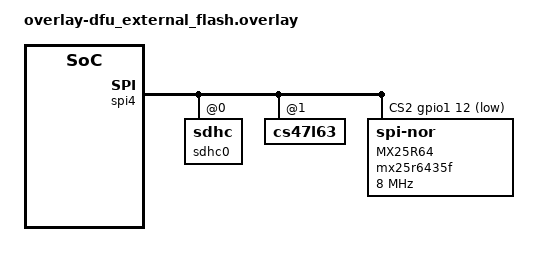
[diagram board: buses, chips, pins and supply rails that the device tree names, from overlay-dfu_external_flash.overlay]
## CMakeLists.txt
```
#
# Copyright (c) 2022 Nordic Semiconductor ASA
#
# SPDX-License-Identifier: LicenseRef-Nordic-5-Clause
#

cmake_minimum_required(VERSION 3.20.0)

if (CONFIG_AUDIO_DFU EQUAL 1)
    set(mcuboot_OVERLAY_CONFIG
    ${CMAKE_CURRENT_LIST_DIR}/dfu/conf/overlay-mcuboot.conf
    )

endif()

if (CONFIG_AUDIO_DFU EQUAL 2)
    set(mcuboot_OVERLAY_CONFIG
        ${CMAKE_CURRENT_LIST_DIR}/dfu/conf/overlay-mcuboot_external_flash.conf
    )
    set(mcuboot_DTC_OVERLAY_FILE ${CMAKE_CURRENT_LIST_DIR}/dfu/conf/overlay-dfu_external_flash.overlay)
    set(DTC_OVERLAY_FILE ${CMAKE_CURRENT_LIST_DIR}/dfu/conf/overlay-dfu_external_flash.overlay)
    set(mcuboot_PM_STATIC_YML_FILE ${CMAKE_CURRENT_LIST_DIR}/dfu/conf/pm_dfu_external_flash.yml)
    set(PM_STATIC_YML_FILE ${CMAKE_CURRENT_LIST_DIR}/dfu/conf/pm_dfu_external_flash.yml)
endif()

if ((CONFIG_AUDIO_DFU EQUAL 1) OR (CONFIG_AUDIO_DFU EQUAL 2))
    set(hci_rpmsg_b0n_OVERLAY_CONFIG ${CMAKE_CURRENT_LIST_DIR}/dfu/conf/b0n.conf)
    if (CONFIG_B0N_MINIMAL)
        list(APPEND hci_rpmsg_b0n_OVERLAY_CONFIG overlay-minimal-size.conf)
    endif()
endif()

# Flag which defines whether application is compiled as gateway/dongle or headset
add_compile_definitions(HEADSET=1)
add_compile_definitions(GATEWAY=2)

set(CONF_FILE prj.conf)
set(FIND_MY_COMMON_CMAKE_DIR
    "$ENV{ZEPHYR_BASE}/../find-my/samples/common/cmake/"
    CACHE PATH "Common configuration directory")
include(${FIND_MY_COMMON_CMAKE_DIR}/boilerplate_setup.cmake NO_POLICY_SCOPE)


find_package(Zephyr REQUIRED HINTS $ENV{ZEPHYR_BASE})

project(NRF5340_AUDIO)

string(TIMESTAMP NRF5340_AUDIO_CORE_APP_COMP_DATE "%a %b %d %H:%M:%S %Y")

# Generate fw_info_app.c
configure_file("${CMAKE_CURRENT_SOURCE_DIR}/src/utils/fw_info_app.c.in"
               "${CMAKE_BINARY_DIR}/fw_info_app.c"
               @ONLY)

# Target sources below are specific to the nRF5340 Audio DK HW
target_sources(app PRIVATE
    src/main.c
    ${CMAKE_BINARY_DIR}/fw_info_app.c
    )

# Include application events and configuration headers
zephyr_library_include_directories(
    src/audio
    src/bluetooth
    src/drivers
    src/events
    src/modules
    src/utils
    src/utils/macros
)

zephyr_library_include_directories(app PRIVATE
    ${ZEPHYR_NRF_MODULE_DIR}/boards/arm/nrf5340_audio_dk_nrf5340)

# Application sources
add_subdirectory(src/audio)
add_subdirectory(src/bluetooth)
add_subdirectory(src/drivers)
add_subdirectory(src/events)
add_subdirectory(src/modules)
add_subdirectory(src/utils)

## Cirrus Logic
if (CONFIG_HW_CODEC_CIRRUS_LOGIC)
    if (ZEPHYR_CIRRUS_LOGIC_MODULE_DIR)
        add_subdirectory(${ZEPHYR_CIRRUS_LOGIC_MODULE_DIR} cirrus_logic_bin_dir)
    else()
        message(FATAL_ERROR "Cirrus Logic/sdk-mcu-drivers repository not found\n")
    endif()
endif()
```

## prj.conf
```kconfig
#
# Copyright (c) 2022 Nordic Semiconductor ASA
#
# SPDX-License-Identifier: LicenseRef-Nordic-5-Clause
#

# nRF5340 Audio
CONFIG_NRF5340_AUDIO=y

# General
CONFIG_DEBUG=y
CONFIG_DEBUG_INFO=y
CONFIG_ASSERT=y
CONFIG_STACK_USAGE=y
CONFIG_THREAD_RUNTIME_STATS=y
CONFIG_STACK_SENTINEL=y
CONFIG_INIT_STACKS=y

# Uart driver
CONFIG_SERIAL=y

# Logging
CONFIG_LOG=y
CONFIG_LOG_MODE_DEFERRED=y
CONFIG_LOG_BACKEND_UART=y
CONFIG_LOG_BACKEND_RTT=n
CONFIG_LOG_DEFAULT_LEVEL=4
CONFIG_NEWLIB_LIBC_FLOAT_PRINTF=y
CONFIG_LOG_TAG_MAX_LEN=2
CONFIG_LOG_TAG_DEFAULT="--"
## Avoid redundant warnings for endpoint setting in USB stack
CONFIG_USB_DRIVER_LOG_LEVEL_ERR=y
CONFIG_USB_DEVICE_LOG_LEVEL_ERR=y

# Console related defines
CONFIG_CONSOLE=y
CONFIG_RTT_CONSOLE=y
CONFIG_UART_CONSOLE=y

# Shell related defines
CONFIG_SHELL=y
CONFIG_KERNEL_SHELL=y
CONFIG_USE_SEGGER_RTT=y
## Disable logs on RTT
CONFIG_SHELL_RTT_INIT_LOG_LEVEL_NONE=y
CONFIG_SHELL_BACKEND_RTT=y
CONFIG_SHELL_BACKEND_SERIAL=n
CONFIG_SHELL_VT100_COLORS=y
CONFIG_SHELL_STACK_SIZE=1024
CONFIG_SHELL_CMD_BUFF_SIZE=128
## Reduce shell memory usage
CONFIG_SHELL_WILDCARD=n
CONFIG_SHELL_HELP_ON_WRONG_ARGUMENT_COUNT=n
CONFIG_SHELL_STATS=n
CONFIG_SHELL_CMDS=n
CONFIG_SHELL_HISTORY=y

# Turn off default shell commands
CONFIG_I2C_SHELL=n
CONFIG_HWINFO_SHELL=n
CONFIG_CLOCK_CONTROL_NRF_SHELL=n
CONFIG_FLASH_SHELL=n
CONFIG_DEVICE_SHELL=n

# Suppress err msg from sd_check_card_type. Because SPI_SDHC has no card presence method,
# assume card is in slot. Thus error message is always shown if card is not inserted
CONFIG_SD_LOG_LEVEL_OFF=y

# FMN configuration
CONFIG_FMNA=y
CONFIG_FMNA_NORDIC_PRODUCT_PLAN=y
CONFIG_FMNA_LOG_LEVEL_DBG=y

CONFIG_FMNA_CAPABILITY_PLAY_SOUND_ENABLED=y
CONFIG_FMNA_CAPABILITY_BLE_SN_LOOKUP_ENABLED=y

# Set FMN Firmware version
CONFIG_FMNA_FIRMWARE_VERSION_MAJOR=1
CONFIG_FMNA_FIRMWARE_VERSION_MINOR=0
CONFIG_FMNA_FIRMWARE_VERSION_REVISION=0

# Bluetooth LE configuration
CONFIG_BT_ID_MAX=2
CONFIG_BT_MAX_CONN=3
CONFIG_TRANSPORT_CIS=y
CONFIG_BT_GATT_SERVICE_CHANGED=y
CONFIG_BT_EXT_ADV_MAX_ADV_SET=2
CONFIG_BT_MAX_PAIRED=3
CONFIG_BT_DEVICE_APPEARANCE=833
CONFIG_BT_DEVICE_NAME_DYNAMIC=y
CONFIG_SETTINGS_SHELL=y
```

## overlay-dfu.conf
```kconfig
#
# Copyright (c) 2022 Nordic Semiconductor ASA
#
# SPDX-License-Identifier: LicenseRef-Nordic-5-Clause
#
# Happirin add for DFU develop
CONFIG_CONSOLE=y
CONFIG_SERIAL=y
CONFIG_BOOTLOADER_MCUBOOT=y
CONFIG_NCS_INCLUDE_RPMSG_CHILD_IMAGE=y

# Increase system workqueue stack size to prevent stack overflows while handling
# SMP requests.
CONFIG_SYSTEM_WORKQUEUE_STACK_SIZE=4096
CONFIG_MAIN_STACK_SIZE=4096
CONFIG_THREAD_NAME=y
# DFU
CONFIG_MCUMGR=y
CONFIG_PCD_APP=y
CONFIG_PCD_LOG_LEVEL_DBG=y
CONFIG_FLASH=y
CONFIG_MCUMGR_LOG_LEVEL_DBG=y
CONFIG_MCUMGR_CMD_OS_MGMT=y
CONFIG_MCUMGR_CMD_IMG_MGMT=y
CONFIG_MCUMGR_BUF_SIZE=1024

# BT dfu
CONFIG_MCUMGR_SMP_BT=y
CONFIG_MCUMGR_SMP_BT_AUTHEN=n
CONFIG_BT_L2CAP_TX_MTU=498
CONFIG_BT_BUF_ACL_TX_SIZE=251
CONFIG_BT_BUF_ACL_RX_SIZE=502
CONFIG_MCUMGR_BUF_COUNT=6

# Serial DFU
#CONFIG_MCUMGR_SMP_UART=y
#CONFIG_UART_MCUMGR_RX_BUF_SIZE=512
## Required by the `taskstat` command.
CONFIG_THREAD_MONITOR=y
CONFIG_STATS=y
CONFIG_STATS_NAMES=y
CONFIG_MCUMGR_CMD_OS_MGMT=y
CONFIG_MCUMGR_CMD_STAT_MGMT=y
CONFIG_MCUMGR_CMD_IMG_MGMT=y
CONFIG_SHELL=n
CONFIG_FS_FATFS_EXFAT=n
CONFIG_BT_DEBUG_LOG=n
CONFIG_MCUBOOT_IMAGE_VERSION="1.0.0+0"
```

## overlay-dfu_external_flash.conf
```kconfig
#
# Copyright (c) 2022 Nordic Semiconductor ASA
#
# SPDX-License-Identifier: LicenseRef-Nordic-5-Clause
#
# Happirin add for DFU develop
CONFIG_CONSOLE=y
CONFIG_SERIAL=y
CONFIG_BOOTLOADER_MCUBOOT=y
CONFIG_NCS_INCLUDE_RPMSG_CHILD_IMAGE=y

# DFU
CONFIG_FLASH=y
CONFIG_PCD_APP=y
CONFIG_PCD_LOG_LEVEL_DBG=y
CONFIG_MCUMGR_LOG_LEVEL_DBG=y
CONFIG_MCUMGR=y
CONFIG_MCUMGR_CMD_OS_MGMT=y
CONFIG_MCUMGR_CMD_STAT_MGMT=y
CONFIG_MCUMGR_CMD_IMG_MGMT=y
CONFIG_MCUMGR_BUF_SIZE=1024
CONFIG_MCUBOOT_UTIL_LOG_LEVEL_DBG=y
# Enable custom SMP request to erase settings partition.
CONFIG_MCUMGR_GRP_ZEPHYR_BASIC=y
#CONFIG_MCUMGR_GRP_BASIC_CMD_STORAGE_ERASE=y

# The network core cannot access external flash directly. The flash simulator must be used to
# provide a memory region that is used to forward the new firmware to the network core.
CONFIG_FLASH_SIMULATOR=y
CONFIG_FLASH_SIMULATOR_DOUBLE_WRITES=y
CONFIG_FLASH_SIMULATOR_STATS=n

# Increase system workqueue stack size to prevent stack overflows while handling
# SMP requests.
CONFIG_SYSTEM_WORKQUEUE_STACK_SIZE=8192
CONFIG_MAIN_STACK_SIZE=4096
CONFIG_THREAD_NAME=y
# BT DFU
CONFIG_MCUMGR_SMP_BT=y
CONFIG_MCUMGR_SMP_BT_AUTHEN=n
CONFIG_MCUMGR_SMP_BT_CONN_PARAM_CONTROL=y
CONFIG_BT_L2CAP_TX_MTU=498
CONFIG_BT_BUF_ACL_TX_SIZE=251
CONFIG_BT_BUF_ACL_RX_SIZE=502
CONFIG_MCUMGR_BUF_COUNT=6

# Serial DFU
CONFIG_MCUMGR_SMP_UART=y
CONFIG_UART_MCUMGR_RX_BUF_SIZE=1024
## Required by the `taskstat` command.
CONFIG_THREAD_MONITOR=y
CONFIG_STATS=y
CONFIG_STATS_NAMES=y

CONFIG_UPDATEABLE_IMAGE_NUMBER=2
CONFIG_IMG_MANAGER=y
CONFIG_MCUBOOT_IMG_MANAGER=y
CONFIG_IMG_ERASE_PROGRESSIVELY=y
CONFIG_PM_EXTERNAL_FLASH_MCUBOOT_SECONDARY=y
CONFIG_FLASH_NOP_DEVICE=y
CONFIG_SPI_NOR=y
CONFIG_FLASH_SHELL=y
CONFIG_SPI_NOR_CS_WAIT_DELAY=5
CONFIG_SPI_NOR_SFDP_DEVICETREE=y
CONFIG_LOG=y
CONFIG_FLASH_LOG_LEVEL_DBG=y
# Enable uart driver
CONFIG_SERIAL=y
CONFIG_MCUBOOT_IMAGE_VERSION="2.0.0+0"
```

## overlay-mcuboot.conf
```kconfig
#
# Copyright (c) 2022 Nordic Semiconductor ASA
#
# SPDX-License-Identifier: LicenseRef-Nordic-5-Clause
#
CONFIG_PCD_APP=y
CONFIG_BOARD_ENABLE_CPUNET=n
```

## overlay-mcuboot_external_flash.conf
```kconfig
#
# Copyright (c) 2022 Nordic Semiconductor ASA
#
# SPDX-License-Identifier: LicenseRef-Nordic-5-Clause
#
CONFIG_SIZE_OPTIMIZATIONS=y
CONFIG_PM_PARTITION_SIZE_MCUBOOT=0x10000

CONFIG_MAIN_STACK_SIZE=20480
CONFIG_MBEDTLS_CFG_FILE="mcuboot-mbedtls-cfg.h"

CONFIG_BOOT_MAX_IMG_SECTORS=2048

# Flash
CONFIG_FLASH=y
CONFIG_BOOT_ERASE_PROGRESSIVELY=y
CONFIG_SOC_FLASH_NRF_EMULATE_ONE_BYTE_WRITE_ACCESS=y
CONFIG_FPROTECT=y

# Serial
CONFIG_SERIAL=y

# Required by SPI
CONFIG_GPIO=y
CONFIG_SPI=y
CONFIG_SPI_NOR=y
CONFIG_SPI_NOR_SFDP_DEVICETREE=y
CONFIG_MULTITHREADING=y

CONFIG_CBPRINTF_NANO=y
CONFIG_CONSOLE=y
CONFIG_UART_CONSOLE=y
CONFIG_LOG=y
CONFIG_UART_NRFX=y

# The following configurations are required to support simultaneous multi image update
CONFIG_PCD_APP=y
CONFIG_UPDATEABLE_IMAGE_NUMBER=2
CONFIG_BOOT_UPGRADE_ONLY=y
# The network core cannot access external flash directly. The flash simulator must be used to
# provide a memory region that is used to forward the new firmware to the network core.
CONFIG_FLASH_SIMULATOR=y
CONFIG_FLASH_SIMULATOR_DOUBLE_WRITES=y
CONFIG_FLASH_SIMULATOR_STATS=n

# Enable custom command to erase settings partition.
CONFIG_ENABLE_MGMT_PERUSER=y
CONFIG_BOOT_MGMT_CUSTOM_STORAGE_ERASE=y
CONFIG_HW_CC3XX=n
CONFIG_NRF_CC3XX_PLATFORM=n
CONFIG_PM_EXTERNAL_FLASH_MCUBOOT_SECONDARY=y
CONFIG_BOARD_ENABLE_CPUNET=n
```

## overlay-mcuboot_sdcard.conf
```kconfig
#
# Copyright (c) 2022 Nordic Semiconductor ASA
#
# SPDX-License-Identifier: LicenseRef-Nordic-5-Clause
#
#
# Copyright (c) 2022 Nordic Semiconductor ASA
#
# SPDX-License-Identifier: LicenseRef-BSD-5-Clause-Nordic
#

CONFIG_PM=n

CONFIG_MAIN_STACK_SIZE=10240
CONFIG_MBEDTLS_CFG_FILE="mcuboot-mbedtls-cfg.h"

CONFIG_BOOT_SWAP_SAVE_ENCTLV=n
CONFIG_BOOT_ENCRYPT_RSA=n
CONFIG_BOOT_ENCRYPT_EC256=n
CONFIG_BOOT_ENCRYPT_X25519=n

CONFIG_BOOT_UPGRADE_ONLY=n
CONFIG_BOOT_BOOTSTRAP=n

### mbedTLS has its own heap
# CONFIG_HEAP_MEM_POOL_SIZE is not set

### We never want Zephyr's copy of tinycrypt.  If tinycrypt is needed,
### MCUboot has its own copy in tree.
# CONFIG_TINYCRYPT is not set
# CONFIG_TINYCRYPT_ECC_DSA is not set
# CONFIG_TINYCRYPT_SHA256 is not set

CONFIG_FLASH=y
CONFIG_FPROTECT=y

### Various Zephyr boards enable features that we don't want.
# CONFIG_BT is not set
# CONFIG_BT_CTLR is not set
# CONFIG_I2C is not set

CONFIG_LOG=y
CONFIG_LOG_MODE_MINIMAL=y # former CONFIG_MODE_MINIMAL
### Ensure Zephyr logging changes don't use more resources
CONFIG_LOG_DEFAULT_LEVEL=3
### Decrease footprint by ~4 KB in comparison to CBPRINTF_COMPLETE=y
CONFIG_CBPRINTF_NANO=y

#SIZE optimization
CONFIG_SIZE_OPTIMIZATIONS=y
CONFIG_FS_FATFS_READ_ONLY=y
CONFIG_FS_FATFS_MOUNT_MKFS=n
CONFIG_ASSERT=n
CONFIG_BOOT_BANNER=n

### SPI SDHC drivers rely on multithreading
CONFIG_MULTITHREADING=y
CONFIG_MCUBOOT_SD_UPDATE=y

CONFIG_SPI=y
#CONFIG_SPI_4=y
CONFIG_SPI_NRFX_RAM_BUFFER_SIZE=8
#CONFIG_NRFX_SPIM4=y
CONFIG_SDMMC_OVER_SPI=y

### SPI SDHC drivers rely on multithreading
CONFIG_MULTITHREADING=y
CONFIG_MCUBOOT_SD_UPDATE=y

CONFIG_SPI=y
#CONFIG_SPI_4=y
CONFIG_SPI_NRFX_RAM_BUFFER_SIZE=8
#CONFIG_NRFX_SPIM4=y
CONFIG_SDMMC_OVER_SPI=y
CONFIG_HW_CC3XX=n
CONFIG_NRF_CC3XX_PLATFORM=n
CONFIG_PM_PARTITION_SIZE_MCUBOOT=0xE100
```

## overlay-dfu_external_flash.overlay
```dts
/ {
	chosen {
		nordic,pm-ext-flash = &mx25r64;
	};
};

/ {
	soc {
		/* Add a flash controller which has the compatible
		 * 'zephyr,sim-flash'. This will ensure that the flash
		 * simulator can use it. None of the other properties in this
		 * node is used for anything.
		 */
		nordic_ram_flash_controller: nordic_ram-flash-controller@0 {
			compatible = "zephyr,sim-flash";
			reg = <0x00000000 DT_SIZE_K(40)>;
			#address-cells = <1>;
			#size-cells = <1>;
			erase-value = <0xff>;
			label = "nordic_ram_flash_flash_controller";

			/* This node label must match that used in the flash
			 * simulator.
			 */
			flash_sim0: flash_sim@0 {
				status = "okay";
				compatible = "soc-nv-flash";
				label = "simulated_flash";
				erase-block-size = <4096>;
				write-block-size = <4>;
				reg = <0x00000000 DT_SIZE_K(256)>;

				partitions {
					compatible = "fixed-partitions";
					#address-cells = <1>;
					#size-cells = <1>;

					/* This partition must be defined for
					 * MCUboot to find the partition ID
					 * of the primary slot for image 1,
					 * which is stored in this partition.
					 */
					slot2_partition: partition@0 {
						label = "image-2";
						reg = <0x00000000 0x00000A000>;
					};
				};
			};
		};
	};
};

&qspi {
	status = "disabled";
};

&spi4 {
	cs-gpios = <&gpio0 11 GPIO_ACTIVE_LOW>, <&gpio0 17 GPIO_ACTIVE_LOW>, < &gpio1 12 0x1 >;
	status = "okay";
	sdhc0: sdhc@0 {
		status = "okay";
	};
	cs47l63: cs47l63@1 {
		status = "okay";
	};
	mx25r64: mx25r6435f@2 {

		compatible = "jedec,spi-nor";
		reg = <2>;
		spi-max-frequency = <8000000>;

		label = "MX25R64";
		jedec-id = [c2 28 17];
		sfdp-bfp = [
			e5 20 f1 ff  ff ff ff 03  44 eb 08 6b  08 3b 04 bb
			ee ff ff ff  ff ff 00 ff  ff ff 00 ff  0c 20 0f 52
			10 d8 00 ff  23 72 f5 00  82 ed 04 cc  44 83 68 44
			30 b0 30 b0  f7 c4 d5 5c  00 be 29 ff  f0 d0 ff ff
		];
		size = <67108864>;
		has-dpd;
		t-enter-dpd = <10000>;
		t-exit-dpd = <5000>;
		dpd-wakeup-sequence = <30000 20 45000>;
	};
};
```

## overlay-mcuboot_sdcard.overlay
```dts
/*
 * Copyright (c) 2021 Nordic Semiconductor ASA
 *
 * SPDX-License-Identifier: Apache-2.0
 */

 &spi4 {
	compatible = "nordic,nrf-spim";
	status = "okay";
	cs-gpios = <&gpio0 11 GPIO_ACTIVE_LOW>, <&gpio0 17 GPIO_ACTIVE_LOW>;
	sck-pin = <8>;
	miso-pin = <10>;
	mosi-pin = <9>;
	sdhc0: sdhc@0 {
		compatible = "zephyr,mmc-spi-slot";
		reg = <0>;
		status = "okay";
		label = "SDHC0";
		spi-max-frequency = <8000000>;
	};
};
```

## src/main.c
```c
/*
 * Copyright (c) 2018 Nordic Semiconductor ASA
 *
 * SPDX-License-Identifier: LicenseRef-Nordic-5-Clause
 */

#include <zephyr/kernel.h>
#include <zephyr/debug/stack.h>
#include <zephyr/device.h>
#include <string.h>

#include <bluetooth/bluetooth.h>
#include <settings/settings.h>

#include "macros_common.h"
#include "fw_info_app.h"
#include "led.h"
#include "button_handler.h"
#include "button_assignments.h"
#include "nrfx_clock.h"
#include "ble_core.h"
#include "pmic.h"
#include "power_module.h"
#include "sd_card.h"
#include "board_version.h"
#include "audio_system.h"
#include "channel_assignment.h"
#include "streamctrl.h"

#if defined(CONFIG_AUDIO_DFU_ENABLE)
#include "dfu_entry.h"
#endif

#include <zephyr/logging/log.h>
LOG_MODULE_REGISTER(main, CONFIG_LOG_MAIN_LEVEL);

#if defined(CONFIG_INIT_STACKS)
/* Used for printing stack usage */
extern struct k_thread z_main_thread;
#endif /* defined(CONFIG_INIT_STACKS) */

static atomic_t ble_core_is_ready = (atomic_t) false;
static struct board_version board_rev;

static int hfclock_config_and_start(void)
{
	int ret;

	/* Use this to turn on 128 MHz clock for cpu_app */
	ret = nrfx_clock_divider_set(NRF_CLOCK_DOMAIN_HFCLK, NRF_CLOCK_HFCLK_DIV_1);

	ret -= NRFX_ERROR_BASE_NUM;
	if (ret) {
		return ret;
	}

	nrfx_clock_hfclk_start();
	while (!nrfx_clock_hfclk_is_running()) {
	}

	return 0;
}

static int leds_set(void)
{
	int ret;

	/* Blink LED 3 to indicate that APP core is running */
	ret = led_blink(LED_APP_3_GREEN);
	if (ret) {
		return ret;
	}

#if (CONFIG_AUDIO_DEV == HEADSET)
	enum audio_channel channel;

	ret = channel_assignment_get(&channel);
	if (ret) {
		/* Channel is not assigned yet: use default */
		channel = AUDIO_CHANNEL_DEFAULT;
	}

	if (channel == AUDIO_CH_L) {
		ret = led_on(LED_APP_RGB, LED_COLOR_BLUE);
	} else {
		ret = led_on(LED_APP_RGB, LED_COLOR_MAGENTA);
	}

	if (ret) {
		return ret;
	}
#elif (CONFIG_AUDIO_DEV == GATEWAY)
	ret = led_on(LED_APP_RGB, LED_COLOR_GREEN);
	if (ret) {
		return ret;
	}
#endif /* (CONFIG_AUDIO_DEV == HEADSET) */

	return 0;
}

static int bonding_clear_check(void)
{
	int ret;
	bool pressed;

	ret = button_pressed(BUTTON_MUTE, &pressed);
	if (ret) {
		return ret;
	}

	if (pressed) {
		if (IS_ENABLED(CONFIG_SETTINGS)) {
			LOG_INF("Clearing all bonds");
			bt_unpair(BT_ID_DEFAULT, NULL);
		}
	}
	return 0;
}

static int channel_assign_check(void)
{
#if (CONFIG_AUDIO_DEV == HEADSET) && CONFIG_AUDIO_HEADSET_CHANNEL_RUNTIME
	if (!channel_assignment_get(&(enum audio_channel){ AUDIO_CH_L })) {
		/* Channel already assigned */
		return 0;
	}

	int ret;
	bool pressed;

	ret = button_pressed(BUTTON_VOLUME_DOWN, &pressed);
	if (ret) {
		return ret;
	}

	if (pressed) {
		return channel_assignment_set(AUDIO_CH_L);
	}

	ret = button_pressed(BUTTON_VOLUME_UP, &pressed);
	if (ret) {
		return ret;
	}

	if (pressed) {
		return channel_assignment_set(AUDIO_CH_R);
	}
#endif

	return 0;
}

/* Callback from ble_core when the ble subsystem is ready */
void on_ble_core_ready(void)
{
	int ret;

	(void)atomic_set(&ble_core_is_ready, (atomic_t) true);

	if (IS_ENABLED(CONFIG_SETTINGS)) {
		settings_load();

		ret = bonding_clear_check();
		ERR_CHK(ret);
	}
}

void main(void)
{
	int ret;

	LOG_DBG("nRF5340 APP core started");

	ret = hfclock_config_and_start();
	ERR_CHK(ret);

	ret = led_init();
	ERR_CHK(ret);

	ret = button_handler_init();
	ERR_CHK(ret);

	ret = channel_assign_check();
	ERR_CHK(ret);

	ret = fw_info_app_print();
	ERR_CHK(ret);

	ret = board_version_valid_check();
	ERR_CHK(ret);

	ret = board_version_get(&board_rev);
	ERR_CHK(ret);

	if (board_rev.mask & BOARD_REVISION_VALID_MSK_MAX14690_PMIC) {
		ret = pmic_init();
		ERR_CHK(ret);

		ret = pmic_defaults_set();
		ERR_CHK(ret);
	}

	if (board_rev.mask & BOARD_VERSION_VALID_MSK_SD_CARD) {
		ret = sd_card_init();
		if (ret != -ENODEV) {
			ERR_CHK(ret);
		}
	}

	ret = power_module_init();
	ERR_CHK(ret);

#if defined(CONFIG_AUDIO_DFU_ENABLE)
	/* Check DFU BTN before Initialize BLE */
	dfu_entry_check();
#endif

	/* Initialize BLE, with callback for when BLE is ready */
	ret = ble_core_init(on_ble_core_ready);
	ERR_CHK(ret);

	/* Wait until ble_core/NET core is ready */
	while (!(bool)atomic_get(&ble_core_is_ready)) {
		(void)k_sleep(K_MSEC(100));
	}

	ret = leds_set();
	ERR_CHK(ret);

#if defined(CONFIG_FMNA)
	fmna_init();
#endif

	audio_system_init();

	ret = streamctrl_start();
	ERR_CHK(ret);
	while (1) {
		streamctrl_event_handler();
		STACK_USAGE_PRINT("main", &z_main_thread);
	}
}
```
